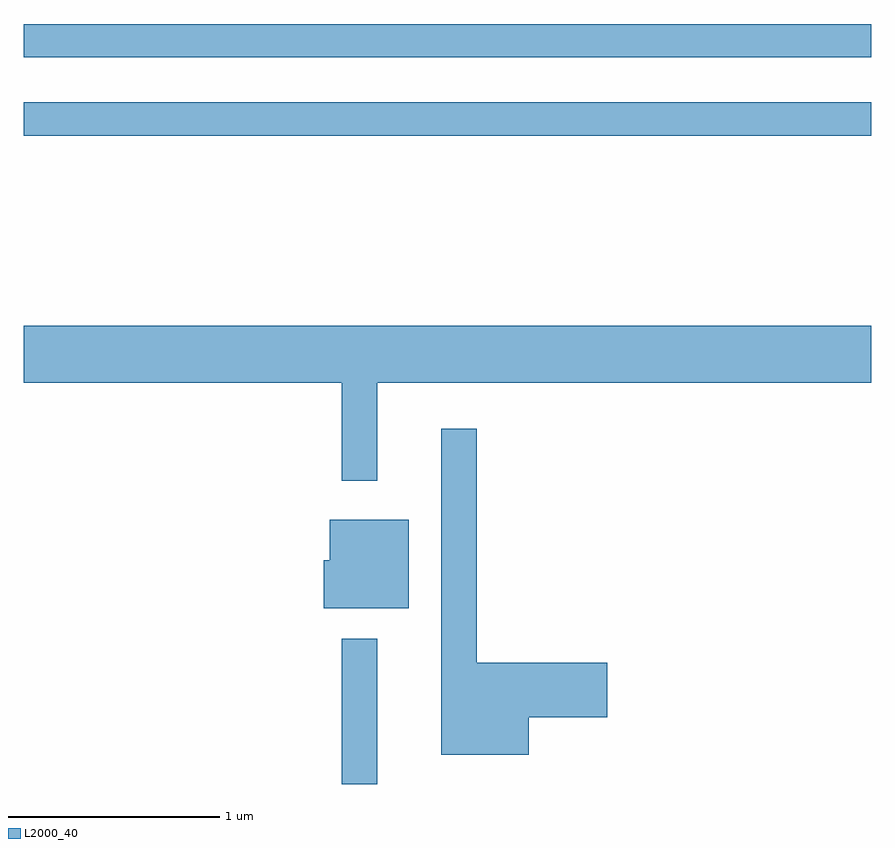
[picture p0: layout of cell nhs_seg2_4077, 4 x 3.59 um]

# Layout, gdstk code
import gdstk
lib = gdstk.Library(unit=1e-6, precision=1e-09)
def R(c, l, rs):  # rectangles x0, y0, x1, y1
    for r in rs: c.add(gdstk.rectangle(r[:2], r[2:], *l))
def P(c, l, *ps):  # polygons
    for p in ps: c.add(gdstk.Polygon(p, *l))
L2000_40 = (2000, 40)

nhs_seg2_4077 = lib.new_cell('nhs_seg2_4077')
R(nhs_seg2_4077, L2000_40, [(307.111,999.802,307.279,1000.488), (305.611,1002.861,309.611,1003.019), (305.611,1003.231,309.611,1003.389)])
P(nhs_seg2_4077, L2000_40, [(307.279,1001.696),(309.611,1001.696),(309.611,1001.964),(305.611,1001.964),(305.611,1001.696),(307.111,1001.696),(307.111,1001.233),(307.279,1001.233)],
  [(307.994,1000.116),(308.364,1000.116),(308.364,1000.374),(307.749,1000.374),(307.749,1001.478),(307.581,1001.478),(307.581,999.941),(307.994,999.941)],
  [(307.429,1001.049),(307.056,1001.049),(307.056,1000.859),(307.026,1000.859),(307.026,1000.631),(307.429,1000.631)])

lib.write_gds('nhs_seg2_4077.gds')
